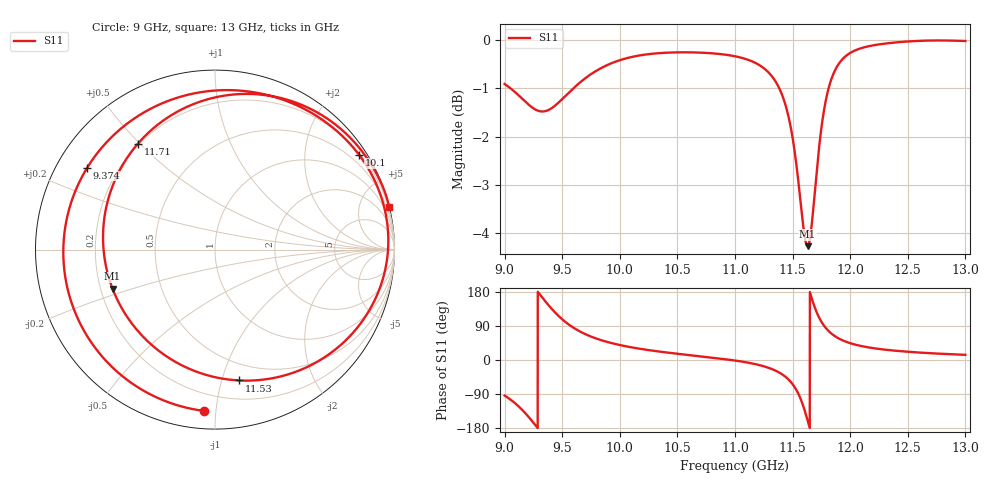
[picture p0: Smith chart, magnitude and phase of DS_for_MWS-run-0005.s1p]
! TOUCHSTONE file generated by CST DESIGN STUDIO
! Date and time: Tue Feb  4 12:43:40 2025
! Project name: C:\Work\MatlabApps\UnitCellOptimizationMatlab\CST\unitcell.cst
! Tree item: Tasks\Sweep1\SPara1\S-Parameters
! Header version: 2024
! Port assignment regex: !\s*Touchstone port\s*([0-9]+)\s*=\s*(CST MWS port|CST DES external port|CST DES block port)\s*(.+)\s* \(\"(.*)\"\)(\s*mode\s*([0-9]+))?.*
! Touchstone port assignment:
! Touchstone port 1 = CST DES external port 1 ("")
# GHz S MA R 50
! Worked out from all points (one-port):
!   4001 points, 9 GHz to 13 GHz, reference 50 ohm
!   lowest |S11| = -4.3 dB at 11.63 GHz (marker M1), VSWR 4.14, Z = 12.5 - j8.64 ohm
!   |S11| at or under -10 dB: nowhere
!   S11 on the Smith chart (normalised r, x): 9 GHz: 0.10, -0.93; 9.374 GHz: 0.09, +0.29; 10.1 GHz: 0.24, +3.33; 11.53 GHz: 0.35, -1.14; 11.71 GHz: 0.20, +0.49; 13 GHz: 0.05, +8.35
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9  0.9007 -93.9
9.124  0.8762 -123.0
9.236  0.8521 -160.2
9.304  0.844 173.8
9.374  0.8457 147.3
9.436  0.8549 126.1
9.5  0.8688 107.4
9.593  0.8906 86.1
9.721  0.9171 65.5
10  0.9536 39.5
10.103  0.9609 33.3
10.5  0.9716 16.5
11  0.9626 -1.4
11.335  0.9127 -25.8
11.428  0.8645 -41.9
11.5  0.7919 -63.8
11.534  0.7409 -79.7
11.583  0.6556 -113.2
11.63  0.6109 -159.2
11.667  0.6447 161.9
11.709  0.7302 126.0
11.75  0.8109 101.0
11.798  0.8771 81.1
11.886  0.9393 59.3
12  0.9703 44.4
12.19  0.9876 31.7
12.5  0.9973 21.8
13  0.9985 13.7
